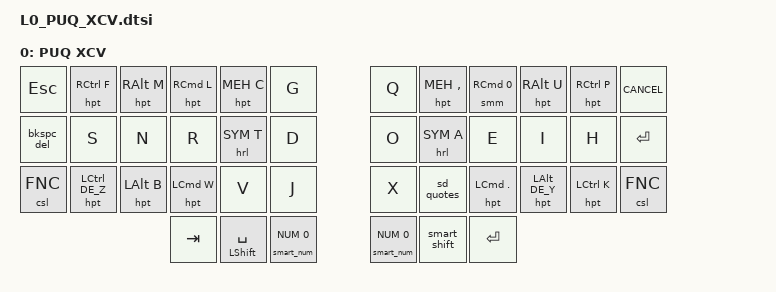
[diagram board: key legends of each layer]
/**
 * Alpha Layer - PUQ XCV
 */

/ {
  keymap {
    compatible = "zmk,keymap";

    layer_def_puq_xcv {
      label = "PUQ XCV";
      bindings = <
// ╭───────────────┬───────────────┬───────────────┬───────────────┬───────────────┬───────────────╮   ╭───────────────┬───────────────┬───────────────┬───────────────┬───────────────┬───────────────╮
//  0               1               2               3               4               5                   6               7               8               9               10              11
    &kp ESC         &hpt RCTRL F    &hpt RALT M     &hpt RCMD L     &hpt MEH C      &kp G               &kp Q           &hpt MEH COMMA  &smm RCMD  0    &hpt RALT U     &hpt RCTRL P    &kp K_CANCEL
// ├───────────────├───────────────┼───────────────┼───────────────┼───────────────┼───────────────┤   ├───────────────├───────────────┼───────────────┼───────────────┼───────────────┼───────────────┤
//  12              13              14              15              16              17                  18              19              20              21              22              23
    &bkspc_del      &kp S           &kp N           &kp R           &hrl SYM T      &kp D               &kp O           &hrl SYM A      &kp E           &kp I           &kp H           &kp ENTER
// ├───────────────├───────────────┼───────────────┼───────────────┼───────────────┼───────────────┤   ├───────────────├───────────────┼───────────────┼───────────────┼───────────────┼───────────────┤
//  24              25              26              27              28              29                  30              31              32              33              34              35
    &csl FNC        &hpt LCTRL DE_Z &hpt LALT B     &hpt LCMD W     &kp V           &kp J               &kp X           &sd_quotes      &hpt LCMD DOT   &hpt LALT DE_Y  &hpt LCTRL K    &csl FNC
// ╰───────────────┴───────────────┴───────────────┼───────────────┼───────────────┼───────────────┤   ├───────────────├───────────────┼───────────────┼───────────────┴───────────────┴───────────────╯
//                                                  36              37              38                  39              40              41
                                                    &kp TAB         &mt LSHFT SPACE &smart_num NUM 0    &smart_num NUM 0 &smart_shift   &kp ENTER
//                                                 ╰───────────────┴───────────────┴───────────────╯   ╰───────────────┴───────────────┴───────────────╯
      >;
    };
  };
};
